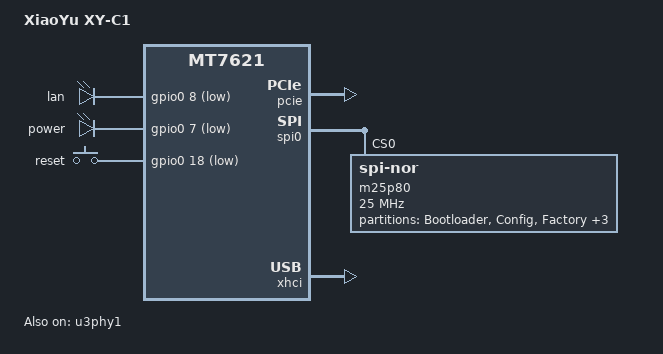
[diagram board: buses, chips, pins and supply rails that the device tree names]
/dts-v1/;

#include "mt7621.dtsi"
#include <dt-bindings/input/input.h>
#include "mt7621-raeth-gmac2.dtsi"
#include "mt7621-pinctrl-default-gpio.dtsi"

/ {
	compatible = "mediatek,mt7621-soc";
	model = "XiaoYu XY-C1";

	chosen {
		bootargs = "console=ttyS0,115200";
	};

	leds {
		compatible = "gpio-leds";

		work {
			label = "lan";
			gpios = <&gpio0 8 GPIO_ACTIVE_LOW>;
		};

		sys {
			label = "power";
			gpios = <&gpio0 7 GPIO_ACTIVE_LOW>;
		};
	};

	gpio-keys-polled {
		compatible = "gpio-keys-polled";
		#address-cells = <1>;
		#size-cells = <0>;
		poll-interval = <20>;

		reset {
			label = "reset";
			gpios = <&gpio0 18 GPIO_ACTIVE_LOW>;
			linux,code = <KEY_RESTART>;
		};
	};
};

&pcie {
	status = "okay";
};

&spi0 {
	status = "okay";

	m25p80@0 {
		#address-cells = <1>;
		#size-cells = <1>;
		compatible = "jedec,spi-nor";
		reg = <0>;
		spi-max-frequency = <25000000>;

		partition@0 {
			label = "Bootloader";
			reg = <0x00000 0x30000>; /* 192K */
		};

		partition@30000 {
			label = "Config";
			reg = <0x30000 0x10000>; /* 64K */
		};

		partition@40000 {
			label = "Factory";
			reg = <0x40000 0x10000>; /* 64K */
		};

		partition@50000 {
			label = "firmware";
			reg = <0x50000 0x1f30000>;
		};

		partition@1f80000 {
			label = "Storage";
			reg = <0x1f80000 0x80000>; /* 512K */
		};

		partition@all {
			label = "ALL";
			reg = <0x0 0x2000000>;
		};
	};
};

&xhci {
	status = "okay";
};

&u3phy1 {
	status = "okay";
};
